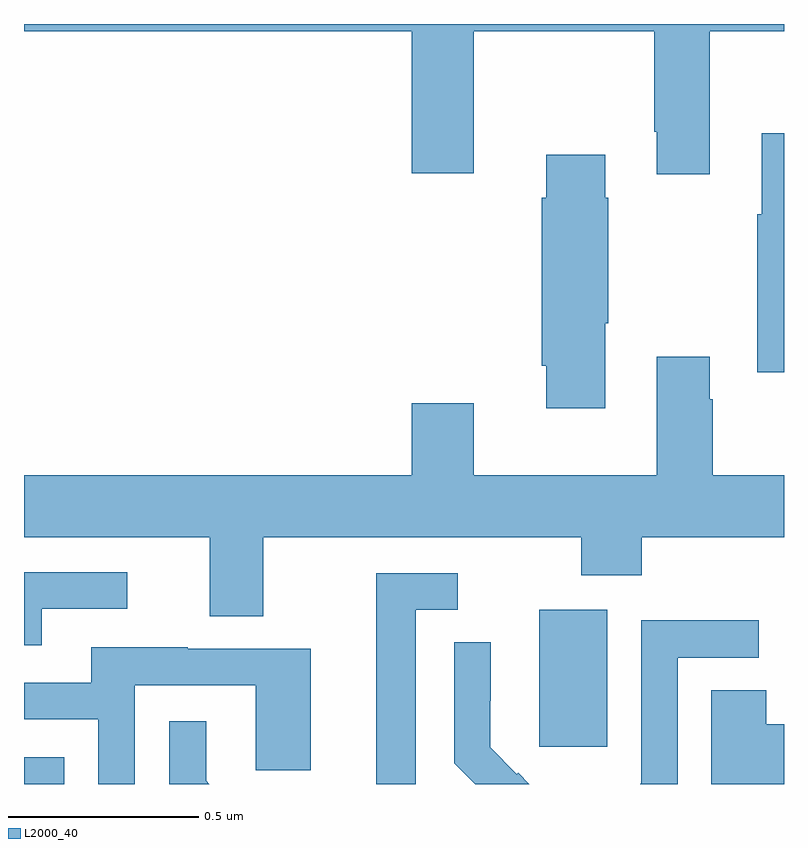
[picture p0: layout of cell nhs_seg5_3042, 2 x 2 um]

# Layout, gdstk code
import gdstk
lib = gdstk.Library(unit=1e-6, precision=1e-09)
def R(c, l, rs):  # rectangles x0, y0, x1, y1
    for r in rs: c.add(gdstk.rectangle(r[:2], r[2:], *l))
def P(c, l, *ps):  # polygons
    for p in ps: c.add(gdstk.Polygon(p, *l))
L2000_40 = (2000, 40)

nhs_seg5_3042 = lib.new_cell('nhs_seg5_3042')
R(nhs_seg5_3042, L2000_40, [(152,834.799,152.106,834.87), (153.356,834.897,153.535,835.258)])
P(nhs_seg5_3042, L2000_40, [(153.805,836.78),(154,836.78),(154,836.799),(152,836.799),(152,836.78),(153.02,836.78),(153.02,836.406),(153.184,836.406),(153.184,836.78),(153.658,836.78),(153.658,836.515),(153.665,836.515),(153.665,836.403),(153.805,836.403)],
  [(154,836.512),(153.941,836.512),(153.941,836.299),(153.93,836.299),(153.93,835.883),(154,835.883)],
  [(153.529,836.011),(153.537,836.011),(153.537,836.342),(153.529,836.342),(153.529,836.455),(153.374,836.455),(153.374,836.342),(153.362,836.342),(153.362,835.9),(153.374,835.9),(153.374,835.788),(153.529,835.788)],
  [(152.629,835.448),(153.466,835.448),(153.466,835.349),(153.626,835.349),(153.626,835.448),(154,835.448),(154,835.612),(153.813,835.612),(153.813,835.811),(153.805,835.811),(153.805,835.924),(153.665,835.924),(153.665,835.612),(153.184,835.612),(153.184,835.801),(153.02,835.801),(153.02,835.612),(152,835.612),(152,835.448),(152.489,835.448),(152.489,835.24),(152.629,835.24)],
  [(152.047,835.26),(152.272,835.26),(152.272,835.356),(152,835.356),(152,835.164),(152.047,835.164)],
  [(153.031,835.257),(153.142,835.257),(153.142,835.353),(152.927,835.353),(152.927,834.799),(153.031,834.799)],
  [(153.72,835.131),(153.934,835.131),(153.934,835.23),(153.624,835.23),(153.624,834.8),(153.622,834.8),(153.622,834.799),(153.72,834.799)],
  [(153.3,834.828),(153.297,834.825),(153.227,834.896),(153.227,835.018),(153.228,835.018),(153.228,835.172),(153.132,835.172),(153.132,834.854),(153.187,834.799),(153.329,834.799)],
  [(152.292,835.059),(152.61,835.059),(152.61,834.835),(152.755,834.835),(152.755,835.155),(152.431,835.155),(152.431,835.159),(152.177,835.159),(152.177,835.065),(152,835.065),(152,834.969),(152.196,834.969),(152.196,834.799),(152.292,834.799)],
  [(154,834.956),(153.953,834.956),(153.953,835.046),(153.809,835.046),(153.809,834.799),(154,834.799)],
  [(152.479,834.807),(152.479,834.964),(152.382,834.964),(152.382,834.799),(152.487,834.799)])

lib.write_gds('nhs_seg5_3042.gds')
